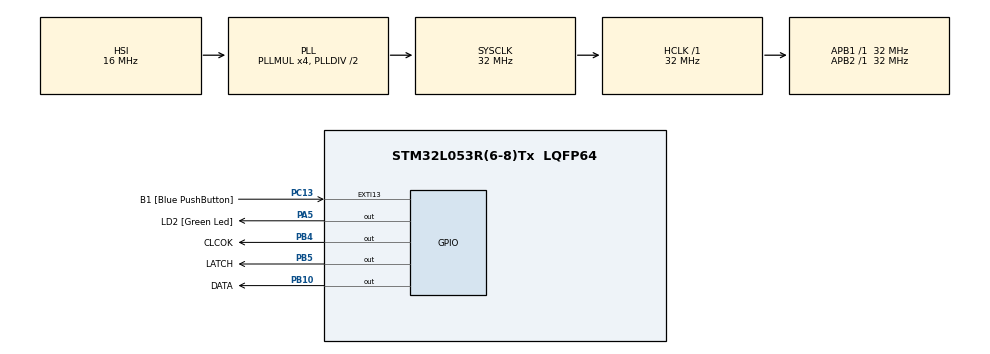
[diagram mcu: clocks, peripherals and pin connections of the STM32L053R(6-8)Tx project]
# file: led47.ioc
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Mcu.Family=STM32L0
Mcu.Name=STM32L053R(6-8)Tx
Mcu.Package=LQFP64
PA13.GPIO_Label=TMS
PA13.Mode=Serial_Wire
PA13.Signal=SYS_SWDIO
PA14.GPIO_Label=TCK
PA14.Mode=Serial_Wire
PA14.Signal=SYS_SWCLK
PA2.GPIO_Label=USART_TX
PA2.Signal=USART2_TX
PA3.GPIO_Label=USART_RX
PA3.Signal=USART2_RX
PA5.GPIO_Label=LD2 [Green Led]
PA5.Signal=GPIO_Output
PB10.GPIO_Label=DATA
PB10.Signal=GPIO_Output
PB4.GPIO_Label=CLCOK
PB4.Signal=GPIO_Output
PB5.GPIO_Label=LATCH
PB5.Signal=GPIO_Output
PC13.GPIO_Label=B1 [Blue PushButton]
PC13.GPIO_ModeDefaultEXTI=GPIO_MODE_IT_FALLING
PC13.Signal=GPXTI13
PC14-OSC32_IN.Signal=RCC_OSC32_IN
PC15-OSC32_OUT.Signal=RCC_OSC32_OUT
PH0-OSC_IN.Signal=RCC_OSC_IN
PH1-OSC_OUT.Signal=RCC_OSC_OUT
ProjectManager.HeapSize=0x200
ProjectManager.StackSize=0x400
ProjectManager.TargetToolchain=STM32CubeIDE
RCC.AHBFreq_Value=32000000
RCC.APB1Freq_Value=32000000
RCC.APB1TimFreq_Value=32000000
RCC.APB2Freq_Value=32000000
RCC.APB2TimFreq_Value=32000000
RCC.HCLKFreq_Value=32000000
RCC.HSE_VALUE=8000000
RCC.HSI16_VALUE=16000000
RCC.HSI48_VALUE=48000000
RCC.HSI_VALUE=16000000
RCC.LSEState=RCC_LSE_ON
RCC.LSE_VALUE=32768
RCC.MSI_VALUE=2097000
RCC.PLLMUL=RCC_PLLMUL_4
RCC.SYSCLKFreq_VALUE=32000000
RCC.SYSCLKSource=RCC_SYSCLKSOURCE_PLLCLK
RCC.VCOOutputFreq_Value=64000000
board=NUCLEO-L053R8

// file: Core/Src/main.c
/* USER CODE BEGIN Header */
/**
  ******************************************************************************
  * @file           : main.c
  * @brief          : Main program body
  ******************************************************************************
  * @attention
  *
  * Copyright (c) 2024 STMicroelectronics.
  * All rights reserved.
  *
  * This software is licensed under terms that can be found in the LICENSE file
  * in the root directory of this software component.
  * If no LICENSE file comes with this software, it is provided AS-IS.
  *
  ******************************************************************************
  */
/* USER CODE END Header */
#include "main.h"

void SystemClock_Config(void);
static void MX_GPIO_Init(void);

/* USER CODE BEGIN 0 */
void clock_signal(void){
	HAL_GPIO_WritePin(GPIOB,CLCOK_Pin,1);
//   digitalWrite(CLCOK_pin, HIGH);
//	HAL_Delay(1);
//    delayMicroseconds(500);
	HAL_GPIO_WritePin(GPIOB,CLCOK_Pin,0);
//   digitalWrite(CLCOK_pin, LOW);
//	HAL_Delay(1);
//    delayMicroseconds(500);
}
void latch_enable(void)
   {
	HAL_GPIO_WritePin(GPIOB,LATCH_Pin,1);
//    digitalWrite(LATCH_pin, HIGH);
//	HAL_Delay(1);
//    delayMicroseconds(500);
	HAL_GPIO_WritePin(GPIOB,LATCH_Pin,0);
//    digitalWrite(LATCH_pin, LOW);
    }
void send_data(unsigned int data_out)
{
    int i;
    for (i=0 ; i<8 ; i++)
    {
        if ((data_out >> i) & (0x01))
        {
        	HAL_GPIO_WritePin(GPIOB,DATA_Pin,1);
//        digitalWrite(DATA_pin,HIGH);
        }
        else
        {
        	HAL_GPIO_WritePin(GPIOB,DATA_Pin,0);
//        digitalWrite(DATA_pin,LOW);
        }

        clock_signal();
    }
//    latch_enable(); // Data finally submitted
}

void Display_led_number(int number, int times){
//	uint8_t index = 16;
	uint8_t nghin = number/1000;
	uint8_t tram = (number%1000)/100;
	uint8_t chuc = (number%100)/10;
	uint8_t donvi = number%10;

	for(int i = 0; i < times; i++ ){
		Display_led_Dec(1, nghin);
		Display_led_Dec(2, tram);
		Display_led_Dec(3, chuc);
		Display_led_Dec(4, donvi);
	}
}

void Display_led_Dec(uint8_t led_index, uint8_t number){
	uint8_t led_codes[] = {3, 159, 37, 13, 153, 73, 65, 31, 1, 9};

	uint8_t index = 16;
	for(uint8_t i = 1; i < led_index; i++ ){
		index *= 2;
	}

	Display_Led(index,led_codes[number]);
}
void Display_Led(uint8_t Led,uint8_t number)
{
	send_data(number);
	send_data(Led);
	latch_enable(); // Data finally submitted
}

/* USER CODE END 0 */

int main(void)
{

  /* MCU Configuration--------------------------------------------------------*/

  /* Reset of all peripherals, Initializes the Flash interface and the Systick. */
  HAL_Init();

  /* Configure the system clock */
  SystemClock_Config();

  /* Initialize all configured peripherals */
  MX_GPIO_Init();

  /* Infinite loop */
  /* USER CODE BEGIN WHILE */
  int number = 0;
  GPIO_PinState preStatus = HAL_GPIO_ReadPin(GPIOC, GPIO_PIN_13);
  GPIO_PinState curStatus = preStatus;
  while (1)
  {
	  curStatus = HAL_GPIO_ReadPin(GPIOC, GPIO_PIN_13);
	  if(curStatus != preStatus && curStatus == GPIO_PIN_SET){
		  number += 1;
	  }
	  preStatus = curStatus;
	  Display_led_number(number, 1);

//	  if (HAL_GPIO_ReadPin(GPIOC, GPIO_PIN_13)) {
//		  while(HAL_GPIO_ReadPin(GPIOC, GPIO_PIN_13)){
//			  Display_led_number(number, 1);
//		  }
//		  number += 1;
//	  }
//	  Display_led_number(number, 1000);

    /* USER CODE END WHILE */

//	  for(uint8_t led_index = 1; led_index < 5; led_index++ ){
//		  for(uint8_t number = 0; number < 10; number++ ){
//			  Display_led_Dec(led_index, number);
//			  HAL_Delay(300);
//		  }
//	  }

//	  for(int number = 0; number < 10000; number++ ){
//		  Display_led_number(number);
//	  }

//	  Display_Led(0xFF,0x00);
//	  Display_Led(48,0xC0);
//	  Display_Led(0x10,0xFC);
//	  Display_Led(0x10,0x02);
//	  Display_Led(0x10,0x03);
//	  Display_Led(0x10,0x04);
//	  Display_Led(0x10,0x05);
//	  Display_Led(0x10,0x06);
//	  Display_Led(0x10,0x07);
//	  Display_Led(0x10,0x08);
//	  Display_Led(0x10,0x09);
//	  Display_Led(0x10,0x0A);
//	  Display_Led(0x10,0x0B);
//	  Display_Led(0x10,0x0C);
//	  Display_Led(0x10,0x0D);
//	  Display_Led(0x10,0x0F);
//	  Display_Led(0x10,0x10);
//	  Display_Led(0x10,0x11);
//	  Display_Led(0x20,0xF1);
//	  Display_Led(0x40,0xF4);
//	  Display_Led(0x80,0xF8);

//	  Display_Led(0xF0,0xFD);
//
//	  Display_Led(0xF0,0x7F);

//	  Display_Led(9,1);
//	  send_data(0b00000000);
//	  HAL_Delay(1000);
//	  send_data(0b10000000);
//	  HAL_Delay(1000);
//	  send_data(0b01000000);
//	  HAL_Delay(1000);
//	  send_data(0b00100000);
//	  HAL_Delay(1000);
//	  send_data(0b00010000);
//	  HAL_Delay(1000);
//	  send_data(0b00001000);
//	  HAL_Delay(1000);
//	  send_data(0b00000100);
//	  HAL_Delay(1000);
//	  send_data(0b00000010);
//	  HAL_Delay(1000);
//	  send_data(0b00000001);
//	  HAL_Delay(1000);
  }
}

void SystemClock_Config(void)
{
  RCC_OscInitTypeDef RCC_OscInitStruct = {0};
  RCC_ClkInitTypeDef RCC_ClkInitStruct = {0};

  /** Configure the main internal regulator output voltage
  */
  __HAL_PWR_VOLTAGESCALING_CONFIG(PWR_REGULATOR_VOLTAGE_SCALE1);

  /** Initializes the RCC Oscillators according to the specified parameters
  * in the RCC_OscInitTypeDef structure.
  */
  RCC_OscInitStruct.OscillatorType = RCC_OSCILLATORTYPE_HSI;
  RCC_OscInitStruct.HSIState = RCC_HSI_ON;
  RCC_OscInitStruct.HSICalibrationValue = RCC_HSICALIBRATION_DEFAULT;
  RCC_OscInitStruct.PLL.PLLState = RCC_PLL_ON;
  RCC_OscInitStruct.PLL.PLLSource = RCC_PLLSOURCE_HSI;
  RCC_OscInitStruct.PLL.PLLMUL = RCC_PLLMUL_4;
  RCC_OscInitStruct.PLL.PLLDIV = RCC_PLLDIV_2;
  if (HAL_RCC_OscConfig(&RCC_OscInitStruct) != HAL_OK)
  {
    Error_Handler();
  }

  /** Initializes the CPU, AHB and APB buses clocks
  */
  RCC_ClkInitStruct.ClockType = RCC_CLOCKTYPE_HCLK|RCC_CLOCKTYPE_SYSCLK
                              |RCC_CLOCKTYPE_PCLK1|RCC_CLOCKTYPE_PCLK2;
  RCC_ClkInitStruct.SYSCLKSource = RCC_SYSCLKSOURCE_PLLCLK;
  RCC_ClkInitStruct.AHBCLKDivider = RCC_SYSCLK_DIV1;
  RCC_ClkInitStruct.APB1CLKDivider = RCC_HCLK_DIV1;
  RCC_ClkInitStruct.APB2CLKDivider = RCC_HCLK_DIV1;

  if (HAL_RCC_ClockConfig(&RCC_ClkInitStruct, FLASH_LATENCY_1) != HAL_OK)
  {
    Error_Handler();
  }
}

static void MX_GPIO_Init(void)
{
  GPIO_InitTypeDef GPIO_InitStruct = {0};

  /* GPIO Ports Clock Enable */
  __HAL_RCC_GPIOC_CLK_ENABLE();
  __HAL_RCC_GPIOH_CLK_ENABLE();
  __HAL_RCC_GPIOA_CLK_ENABLE();
  __HAL_RCC_GPIOB_CLK_ENABLE();

  /*Configure GPIO pin Output Level */
  HAL_GPIO_WritePin(LD2_GPIO_Port, LD2_Pin, GPIO_PIN_RESET);

  /*Configure GPIO pin Output Level */
  HAL_GPIO_WritePin(GPIOB, DATA_Pin|CLCOK_Pin|LATCH_Pin, GPIO_PIN_RESET);

  /*Configure GPIO pin : B1_Pin */
  GPIO_InitStruct.Pin = B1_Pin;
  GPIO_InitStruct.Mode = GPIO_MODE_IT_FALLING;
  GPIO_InitStruct.Pull = GPIO_NOPULL;
  HAL_GPIO_Init(B1_GPIO_Port, &GPIO_InitStruct);

  /*Configure GPIO pins : USART_TX_Pin USART_RX_Pin */
  GPIO_InitStruct.Pin = USART_TX_Pin|USART_RX_Pin;
  GPIO_InitStruct.Mode = GPIO_MODE_AF_PP;
  GPIO_InitStruct.Pull = GPIO_NOPULL;
  GPIO_InitStruct.Speed = GPIO_SPEED_FREQ_VERY_HIGH;
  GPIO_InitStruct.Alternate = GPIO_AF4_USART2;
  HAL_GPIO_Init(GPIOA, &GPIO_InitStruct);

  /*Configure GPIO pin : LD2_Pin */
  GPIO_InitStruct.Pin = LD2_Pin;
  GPIO_InitStruct.Mode = GPIO_MODE_OUTPUT_PP;
  GPIO_InitStruct.Pull = GPIO_NOPULL;
  GPIO_InitStruct.Speed = GPIO_SPEED_FREQ_LOW;
  HAL_GPIO_Init(LD2_GPIO_Port, &GPIO_InitStruct);

  /*Configure GPIO pins : DATA_Pin CLCOK_Pin LATCH_Pin */
  GPIO_InitStruct.Pin = DATA_Pin|CLCOK_Pin|LATCH_Pin;
  GPIO_InitStruct.Mode = GPIO_MODE_OUTPUT_PP;
  GPIO_InitStruct.Pull = GPIO_NOPULL;
  GPIO_InitStruct.Speed = GPIO_SPEED_FREQ_LOW;
  HAL_GPIO_Init(GPIOB, &GPIO_InitStruct);

  //    __GPIOC_CLK_ENABLE();
	GPIO_InitStruct.Pin   = GPIO_PIN_13;
	GPIO_InitStruct.Mode  = GPIO_MODE_INPUT;
	GPIO_InitStruct.Pull  = GPIO_PULLDOWN;
	GPIO_InitStruct.Speed = GPIO_SPEED_FAST;
  	HAL_GPIO_Init(GPIOC, &GPIO_InitStruct);

}

void Error_Handler(void)
{
  __disable_irq();
  while (1)
  {
  }
}
